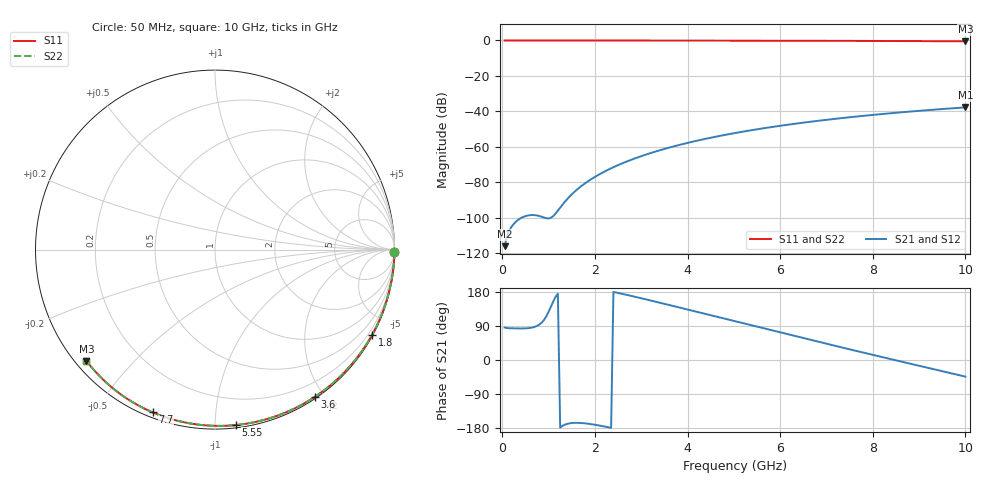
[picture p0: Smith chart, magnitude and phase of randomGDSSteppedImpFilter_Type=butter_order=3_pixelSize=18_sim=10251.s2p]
! freq	dB(S11)	phase(S11)	dB(S12)	phase(S12)
!  dB(S21)	phase(S21)	dB(S22)	phase(S22)
!S-par simulation data
#  GHz  S  DB  R 50
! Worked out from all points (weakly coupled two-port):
!   200 points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, 50 MHz to 10 GHz, reference 50 ohm
!   highest |S21| = -37.80 dB at 10 GHz (marker M1); lowest = -116.2 dB at 50 MHz (marker M2)
!   lowest |S11| = -0.5 dB at 10 GHz (marker M3), VSWR 36.92, Z = 1.54 - j18.6 ohm
!   |S11| at or under -10 dB: nowhere
!   |S22| runs from -0.5 to 0.0 dB; largest |S21 - S12| = 0
!   S11 on the Smith chart (normalised r, x): 50 MHz: open; 1.8 GHz: 0.03, -3.93; 3.6 GHz: 0.02, -1.89; 5.55 GHz: 0.02, -1.13; 7.7 GHz: 0.02, -0.69; 10 GHz: 0.03, -0.37
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0.05  -0.00 -0.8  -116.18 86.0  -116.18 86.0  -0.00 -0.8
0.45  -0.01 -7.2  -99.69 83.2  -99.69 83.2  -0.01 -7.2
0.9  -0.02 -14.4  -100.01 105.6  -100.01 105.6  -0.02 -14.4
1.75  -0.04 -27.8  -81.39 -166.8  -81.39 -166.8  -0.04 -27.8
1.8  -0.04 -28.5  -80.44 -167.4  -80.44 -167.4  -0.04 -28.5
1.85  -0.04 -29.3  -79.54 -168.1  -79.54 -168.1  -0.04 -29.3
2.05  -0.04 -32.4  -76.28 -171.9  -76.28 -171.9  -0.04 -32.4
2.25  -0.05 -35.5  -73.46 -176.6  -73.46 -176.6  -0.05 -35.5
2.55  -0.05 -40.1  -69.84 175.6  -69.84 175.6  -0.05 -40.1
2.95  -0.06 -46.1  -65.80 164.4  -65.80 164.4  -0.06 -46.1
3.4  -0.07 -52.8  -62.02 151.2  -62.02 151.2  -0.07 -52.8
3.6  -0.07 -55.7  -60.53 145.2  -60.53 145.2  -0.07 -55.7
3.9  -0.08 -60.1  -58.49 136.2  -58.49 136.2  -0.08 -60.1
4.3  -0.09 -65.8  -56.05 124.1  -56.05 124.1  -0.09 -65.8
5.05  -0.12 -76.3  -52.16 101.4  -52.16 101.4  -0.12 -76.3
5.55  -0.14 -83.1  -49.96 86.2  -49.96 86.2  -0.14 -83.1
6.1  -0.16 -90.5  -47.81 69.7  -47.81 69.7  -0.16 -90.5
6.7  -0.19 -98.3  -45.75 51.8  -45.75 51.8  -0.19 -98.3
7.7  -0.25 -111.0  -42.82 22.3  -42.82 22.3  -0.25 -111.0
8.35  -0.30 -119.0  -41.19 3.4  -41.19 3.4  -0.30 -119.0
9.2  -0.38 -129.4  -39.32 -21.0  -39.32 -21.0  -0.38 -129.4
10  -0.47 -139.1  -37.80 -43.8  -37.80 -43.8  -0.47 -139.1
